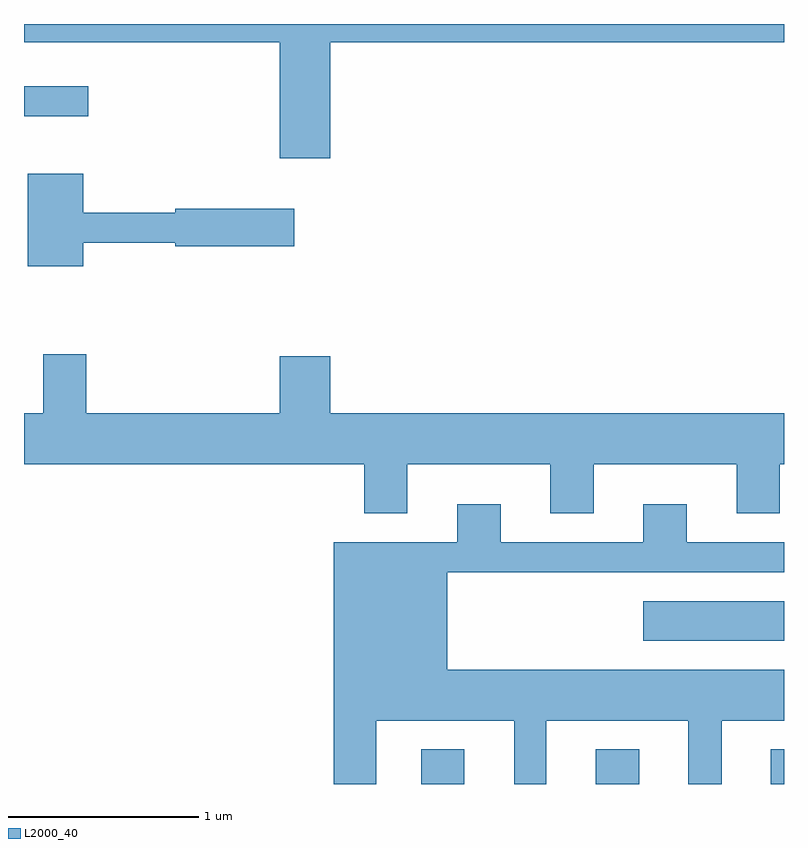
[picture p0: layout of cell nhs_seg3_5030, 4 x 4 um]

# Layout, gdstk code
import gdstk
lib = gdstk.Library(unit=1e-6, precision=1e-09)
def R(c, l, rs):  # rectangles x0, y0, x1, y1
    for r in rs: c.add(gdstk.rectangle(r[:2], r[2:], *l))
def P(c, l, *ps):  # polygons
    for p in ps: c.add(gdstk.Polygon(p, *l))
L2000_40 = (2000, 40)

nhs_seg3_5030 = lib.new_cell('nhs_seg3_5030')
R(nhs_seg3_5030, L2000_40, [(335.701,1119.892,335.929,1120.074), (336.621,1119.892,336.849,1120.074), (337.541,1119.892,337.611,1120.074), (336.871,1120.646,337.611,1120.854), (333.611,1123.406,333.948,1123.564)])
P(nhs_seg3_5030, L2000_40, [(335.224,1123.796),(337.611,1123.796),(337.611,1123.892),(333.611,1123.892),(333.611,1123.796),(334.956,1123.796),(334.956,1123.186),(335.224,1123.186)],
  [(333.924,1122.741),(334.406,1122.741),(334.406,1122.721),(335.034,1122.721),(335.034,1122.919),(334.406,1122.919),(334.406,1122.899),(333.924,1122.899),(333.924,1123.104),(333.631,1123.104),(333.631,1122.616),(333.924,1122.616)],
  [(335.629,1121.576),(336.381,1121.576),(336.381,1121.316),(336.609,1121.316),(336.609,1121.576),(337.361,1121.576),(337.361,1121.316),(337.589,1121.316),(337.589,1121.576),(337.611,1121.576),(337.611,1121.844),(335.224,1121.844),(335.224,1122.144),(334.956,1122.144),(334.956,1121.844),(333.939,1121.844),(333.939,1122.154),(333.711,1122.154),(333.711,1121.844),(333.611,1121.844),(333.611,1121.576),(335.401,1121.576),(335.401,1121.316),(335.629,1121.316)],
  [(335.464,1120.226),(336.191,1120.226),(336.191,1119.892),(336.359,1119.892),(336.359,1120.226),(337.106,1120.226),(337.106,1119.892),(337.284,1119.892),(337.284,1120.226),(337.611,1120.226),(337.611,1120.494),(335.839,1120.494),(335.839,1121.006),(337.611,1121.006),(337.611,1121.164),(337.099,1121.164),(337.099,1121.364),(336.871,1121.364),(336.871,1121.164),(336.119,1121.164),(336.119,1121.364),(335.891,1121.364),(335.891,1121.164),(335.241,1121.164),(335.241,1119.892),(335.464,1119.892)])

lib.write_gds('nhs_seg3_5030.gds')
